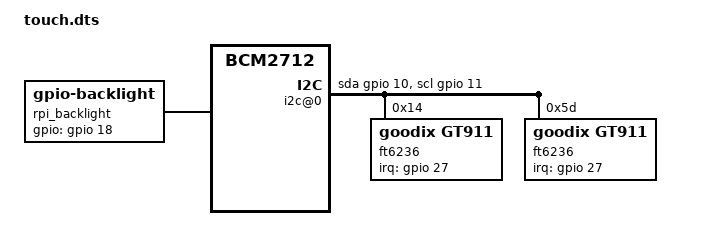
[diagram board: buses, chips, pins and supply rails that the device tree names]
// The 2.8-inch's touch controller and backlight, with the values of
// Waveshare's waveshare-touch-28dpi overlay (GPL-2.0+, from the pack their
// wiki page links, 28DPI-DTBO.zip, 2024-08-08). Waveshare's file gives the
// controllers their own fragment, aimed at the i2c@0 node another of its
// fragments creates. The firmware's merger takes that and the kernel's
// configfs does not (it refuses the overlay: target not found), so here
// they sit inside that node.
/dts-v1/;
/plugin/;

/ {
	compatible = "brcm,bcm2708", "brcm,bcm2711", "brcm,bcm2712";

	fragment@0 {
		target-path = "/";
		__overlay__ {
			rpi_backlight {
				compatible = "gpio-backlight";
				gpios = <&gpio 18 0>;
				default-on;
				pinctrl-names = "default";
			};

			i2c@0 {
				compatible = "i2c-gpio";
				gpios = <&gpio 10 0>, <&gpio 11 0>;
				i2c-gpio,delay-us = <4>;
				#address-cells = <1>;
				#size-cells = <0>;

				ft6236@14 {
					compatible = "goodix,gt911";
					reg = <0x14>;
					interrupt-parent = <&gpio>;
					irq-gpios = <&gpio 27 2>;
					touchscreen-size-x = <480>;
					touchscreen-size-y = <640>;
					touchscreen-x-mm = <43>;
					touchscreen-y-mm = <58>;
					touchscreen-swapped-x-y;
					touchscreen-inverted-y;
				};

				ft6236@5d {
					compatible = "goodix,gt911";
					reg = <0x5d>;
					interrupt-parent = <&gpio>;
					irq-gpios = <&gpio 27 2>;
					touchscreen-size-x = <480>;
					touchscreen-size-y = <640>;
					touchscreen-x-mm = <43>;
					touchscreen-y-mm = <58>;
					touchscreen-swapped-x-y;
					touchscreen-inverted-y;
				};
			};
		};
	};
};
